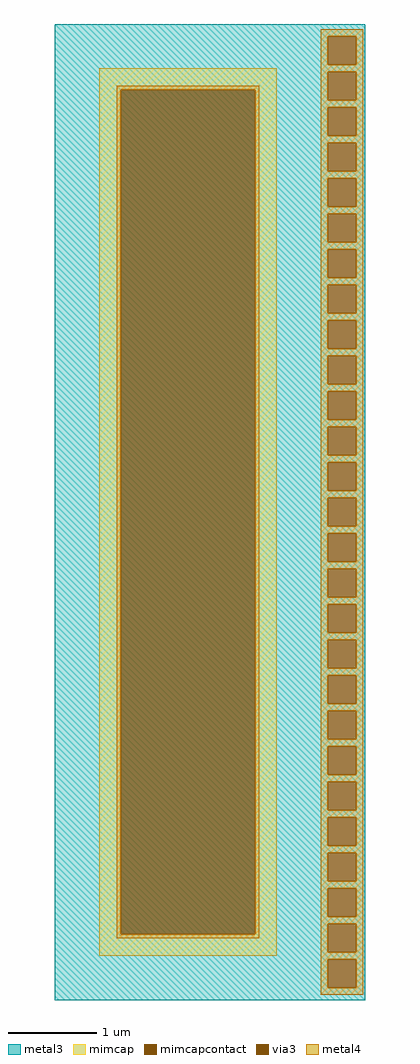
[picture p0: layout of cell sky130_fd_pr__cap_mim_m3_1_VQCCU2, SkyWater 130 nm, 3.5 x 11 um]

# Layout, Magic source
magic
tech sky130A
magscale 1 2
<< metal3 >>
rect -350 1072 349 1100
rect -350 1008 265 1072
rect 329 1008 349 1072
rect -350 992 349 1008
rect -350 928 265 992
rect 329 928 349 992
rect -350 912 349 928
rect -350 848 265 912
rect 329 848 349 912
rect -350 832 349 848
rect -350 768 265 832
rect 329 768 349 832
rect -350 752 349 768
rect -350 688 265 752
rect 329 688 349 752
rect -350 672 349 688
rect -350 608 265 672
rect 329 608 349 672
rect -350 592 349 608
rect -350 528 265 592
rect 329 528 349 592
rect -350 512 349 528
rect -350 448 265 512
rect 329 448 349 512
rect -350 432 349 448
rect -350 368 265 432
rect 329 368 349 432
rect -350 352 349 368
rect -350 288 265 352
rect 329 288 349 352
rect -350 272 349 288
rect -350 208 265 272
rect 329 208 349 272
rect -350 192 349 208
rect -350 128 265 192
rect 329 128 349 192
rect -350 112 349 128
rect -350 48 265 112
rect 329 48 349 112
rect -350 32 349 48
rect -350 -32 265 32
rect 329 -32 349 32
rect -350 -48 349 -32
rect -350 -112 265 -48
rect 329 -112 349 -48
rect -350 -128 349 -112
rect -350 -192 265 -128
rect 329 -192 349 -128
rect -350 -208 349 -192
rect -350 -272 265 -208
rect 329 -272 349 -208
rect -350 -288 349 -272
rect -350 -352 265 -288
rect 329 -352 349 -288
rect -350 -368 349 -352
rect -350 -432 265 -368
rect 329 -432 349 -368
rect -350 -448 349 -432
rect -350 -512 265 -448
rect 329 -512 349 -448
rect -350 -528 349 -512
rect -350 -592 265 -528
rect 329 -592 349 -528
rect -350 -608 349 -592
rect -350 -672 265 -608
rect 329 -672 349 -608
rect -350 -688 349 -672
rect -350 -752 265 -688
rect 329 -752 349 -688
rect -350 -768 349 -752
rect -350 -832 265 -768
rect 329 -832 349 -768
rect -350 -848 349 -832
rect -350 -912 265 -848
rect 329 -912 349 -848
rect -350 -928 349 -912
rect -350 -992 265 -928
rect 329 -992 349 -928
rect -350 -1008 349 -992
rect -350 -1072 265 -1008
rect 329 -1072 349 -1008
rect -350 -1100 349 -1072
<< via3 >>
rect 265 1008 329 1072
rect 265 928 329 992
rect 265 848 329 912
rect 265 768 329 832
rect 265 688 329 752
rect 265 608 329 672
rect 265 528 329 592
rect 265 448 329 512
rect 265 368 329 432
rect 265 288 329 352
rect 265 208 329 272
rect 265 128 329 192
rect 265 48 329 112
rect 265 -32 329 32
rect 265 -112 329 -48
rect 265 -192 329 -128
rect 265 -272 329 -208
rect 265 -352 329 -288
rect 265 -432 329 -368
rect 265 -512 329 -448
rect 265 -592 329 -528
rect 265 -672 329 -608
rect 265 -752 329 -688
rect 265 -832 329 -768
rect 265 -912 329 -848
rect 265 -992 329 -928
rect 265 -1072 329 -1008
<< mimcap >>
rect -250 952 150 1000
rect -250 -952 -202 952
rect 102 -952 150 952
rect -250 -1000 150 -952
<< mimcapcontact >>
rect -202 -952 102 952
<< metal4 >>
rect 249 1072 345 1088
rect 249 1008 265 1072
rect 329 1008 345 1072
rect 249 992 345 1008
rect -211 952 111 961
rect -211 -952 -202 952
rect 102 -952 111 952
rect -211 -961 111 -952
rect 249 928 265 992
rect 329 928 345 992
rect 249 912 345 928
rect 249 848 265 912
rect 329 848 345 912
rect 249 832 345 848
rect 249 768 265 832
rect 329 768 345 832
rect 249 752 345 768
rect 249 688 265 752
rect 329 688 345 752
rect 249 672 345 688
rect 249 608 265 672
rect 329 608 345 672
rect 249 592 345 608
rect 249 528 265 592
rect 329 528 345 592
rect 249 512 345 528
rect 249 448 265 512
rect 329 448 345 512
rect 249 432 345 448
rect 249 368 265 432
rect 329 368 345 432
rect 249 352 345 368
rect 249 288 265 352
rect 329 288 345 352
rect 249 272 345 288
rect 249 208 265 272
rect 329 208 345 272
rect 249 192 345 208
rect 249 128 265 192
rect 329 128 345 192
rect 249 112 345 128
rect 249 48 265 112
rect 329 48 345 112
rect 249 32 345 48
rect 249 -32 265 32
rect 329 -32 345 32
rect 249 -48 345 -32
rect 249 -112 265 -48
rect 329 -112 345 -48
rect 249 -128 345 -112
rect 249 -192 265 -128
rect 329 -192 345 -128
rect 249 -208 345 -192
rect 249 -272 265 -208
rect 329 -272 345 -208
rect 249 -288 345 -272
rect 249 -352 265 -288
rect 329 -352 345 -288
rect 249 -368 345 -352
rect 249 -432 265 -368
rect 329 -432 345 -368
rect 249 -448 345 -432
rect 249 -512 265 -448
rect 329 -512 345 -448
rect 249 -528 345 -512
rect 249 -592 265 -528
rect 329 -592 345 -528
rect 249 -608 345 -592
rect 249 -672 265 -608
rect 329 -672 345 -608
rect 249 -688 345 -672
rect 249 -752 265 -688
rect 329 -752 345 -688
rect 249 -768 345 -752
rect 249 -832 265 -768
rect 329 -832 345 -768
rect 249 -848 345 -832
rect 249 -912 265 -848
rect 329 -912 345 -848
rect 249 -928 345 -912
rect 249 -992 265 -928
rect 329 -992 345 -928
rect 249 -1008 345 -992
rect 249 -1072 265 -1008
rect 329 -1072 345 -1008
rect 249 -1088 345 -1072
<< properties >>
string FIXED_BBOX -350 -1100 250 1100
<< end >>
